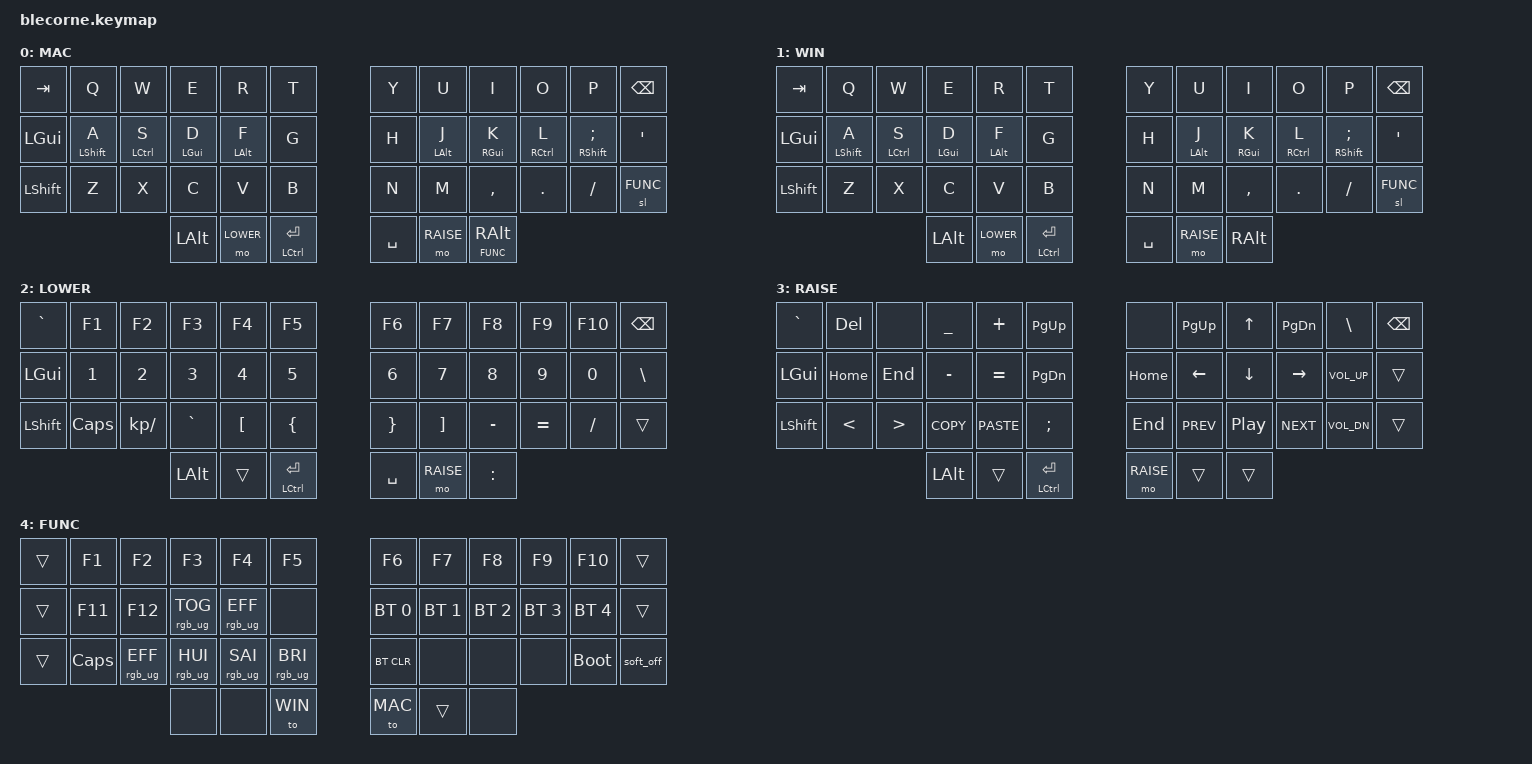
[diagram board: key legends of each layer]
/*
 * Copyright (c) 2020 The ZMK Contributors
 * SPDX-License-Identifier: MIT
 */

#include <behaviors.dtsi>
#include <dt-bindings/zmk/keys.h>
#include <dt-bindings/zmk/bt.h>
#include <dt-bindings/zmk/rgb.h>
#include <dt-bindings/zmk/ext_power.h>
#include <dt-bindings/zmk/outputs.h>

&sl {
    release-after-ms = <2000>;
};

#define MAC 0
#define WIN 1
#define LOWER 2
#define RAISE 3
#define FUNC 4

/ {
    chosen {
        zmk,physical-layout = &foostan_corne_6col_layout;
        // zmk,physical-layout = &foostan_corne_5col_layout;
    };

    behaviors {
        hm: homerow_mods {
            compatible = "zmk,behavior-hold-tap";
            label = "HOMEROW_MODS";
            #binding-cells = <2>;
            tapping-term-ms = <162>;
            quick-tap-ms = <0>;
            flavor = "balanced";
            bindings = <&kp>, <&kp>;
        };

        lt_c: layer_tap_custom {
            compatible = "zmk,behavior-hold-tap";
            label = "LAYER_TAP_CUSTOM";
            #binding-cells = <2>;
            tapping-term-ms = <162>;
            flavor = "balanced";
            bindings = <&mo>, <&kp>;
        };
    };

    combos {
        compatible = "zmk,combos";

        // Q + W = ESC
        combo_esc {
            timeout-ms = <50>;
            key-positions = <1 2>; 
            bindings = <&kp ESC>;
        };

        // . + , = ;
        combo_semi {
            timeout-ms = <50>;
            key-positions = <32 33>;
            bindings = <&kp SEMI>;
        };
    };

    keymap {
        compatible = "zmk,keymap";

        mac_layer {
            display-name = "MAC";
            bindings = <
  //,-----------------------------------------------------.                    ,-----------------------------------------------------.
       &kp TAB   &kp Q       &kp W       &kp E       &kp R       &kp T         &kp Y     &kp U       &kp I       &kp O       &kp P        &kp BSPC
  //|--------+--------+--------+--------+--------+--------|                    |--------+--------+--------+--------+--------+--------|
       &kp LGUI  &hm LSHFT A &hm LCTRL S &hm LGUI D  &hm LALT F  &kp G         &kp H     &hm LALT J  &hm RGUI K  &hm RCTRL L &hm RSHFT SEMI &kp SQT
  //|--------+--------+--------+--------+--------+--------|                    |--------+--------+--------+--------+--------+--------|
       &kp LSHFT &kp Z       &kp X       &kp C       &kp V       &kp B         &kp N     &kp M       &kp COMMA   &kp DOT     &kp FSLH     &sl FUNC
  //|--------+--------+--------+--------+--------+--------+--------|  |--------+--------+--------+--------+--------+--------+--------|
                                           &kp LALT    &mo LOWER   &hm LCTRL RET &kp SPACE &mo RAISE   &lt_c FUNC RALT
                                         //`--------------------------'  `--------------------------'
            >;
        };

        win_layer {
            display-name = "WIN";
            bindings = <
  //,-----------------------------------------------------.                    ,-----------------------------------------------------.
       &kp TAB   &kp Q       &kp W       &kp E       &kp R       &kp T         &kp Y     &kp U       &kp I       &kp O       &kp P        &kp BSPC
  //|--------+--------+--------+--------+--------+--------|                    |--------+--------+--------+--------+--------+--------|
       &kp LGUI  &hm LSHFT A &hm LCTRL S &hm LGUI D  &hm LALT F  &kp G         &kp H     &hm LALT J  &hm RGUI K  &hm RCTRL L &hm RSHFT SEMI &kp SQT
  //|--------+--------+--------+--------+--------+--------|                    |--------+--------+--------+--------+--------+--------|
       &kp LSHFT &kp Z       &kp X       &kp C       &kp V       &kp B         &kp N     &kp M       &kp COMMA   &kp DOT     &kp FSLH     &sl FUNC
  //|--------+--------+--------+--------+--------+--------+--------|  |--------+--------+--------+--------+--------+--------+--------|
                                           &kp LALT    &mo LOWER   &hm LCTRL RET &kp SPACE &mo RAISE   &kp RALT
                                         //`--------------------------'  `--------------------------'
            >;
        };

        lower_layer {
            display-name = "LOWER";
            bindings = <
  //,-----------------------------------------------------.                    ,-----------------------------------------------------.
       &kp GRAVE  &kp F1      &kp F2      &kp F3      &kp F4      &kp F5        &kp F6    &kp F7    &kp F8      &kp F9     &kp F10      &kp BSPC
  //|--------+--------+--------+--------+--------+--------|                    |--------+--------+--------+--------+--------+--------|
       &kp LGUI   &kp N1      &kp N2      &kp N3      &kp N4      &kp N5        &kp N6    &kp N7    &kp N8      &kp N9     &kp N0       &kp BSLH
  //|--------+--------+--------+--------+--------+--------|                    |--------+--------+--------+--------+--------+--------|
       &kp LSHFT  &kp CAPS    &kp KP_SLASH &kp GRAVE  &kp LBKT    &kp LBRC      &kp RBRC  &kp RBKT  &kp MINUS   &kp EQUAL  &kp FSLH     &trans
  //|--------+--------+--------+--------+--------+--------+--------|  |--------+--------+--------+--------+--------+--------+--------|
                                           &kp LALT    &trans      &hm LCTRL RET &kp SPACE &mo RAISE   &kp COLON
                                         //`--------------------------'  `--------------------------'
            >;
        };

        raise_layer {
            display-name = "RAISE";
            bindings = <
  //,-----------------------------------------------------.                    ,-----------------------------------------------------.
       &kp GRAVE  &kp DEL      &none       &kp UNDER    &kp PLUS    &kp PG_UP     &none      &kp PG_UP &kp UP      &kp PG_DN  &kp BSLH     &kp BSPC
  //|--------+--------+--------+--------+--------+--------|                    |--------+--------+--------+--------+--------+--------|
       &kp LGUI   &kp HOME     &kp END     &kp MINUS    &kp EQUAL   &kp PG_DN     &kp HOME   &kp LEFT  &kp DOWN    &kp RIGHT  &kp C_VOL_UP &trans
  //|--------+--------+--------+--------+--------+--------|                    |--------+--------+--------+--------+--------+--------|
       &kp LSHFT  &kp LT       &kp GT      &kp K_COPY   &kp K_PASTE &kp SEMI      &kp END    &kp C_PREV &kp C_PP   &kp C_NEXT &kp C_VOL_DN &trans
  //|--------+--------+--------+--------+--------+--------+--------|  |--------+--------+--------+--------+--------+--------+--------|
                                           &kp LALT    &trans      &hm LCTRL RET &mo RAISE  &trans    &trans
                                         //`--------------------------'  `--------------------------'
            >;
        };

        func_layer {
            display-name = "FUNC";
            bindings = <
  //,-----------------------------------------------------.                    ,-----------------------------------------------------.
       &trans     &kp F1       &kp F2      &kp F3         &kp F4           &kp F5         &kp F6     &kp F7        &kp F8     &kp F9     &kp F10      &trans
  //|--------+--------+--------+--------+--------+--------|                    |--------+--------+--------+--------+--------+--------|
       &trans     &kp F11      &kp F12     &rgb_ug RGB_TOG &rgb_ug RGB_EFF &none          &bt BT_SEL 0 &bt BT_SEL 1 &bt BT_SEL 2 &bt BT_SEL 3 &bt BT_SEL 4 &trans
  //|--------+--------+--------+--------+--------+--------|                    |--------+--------+--------+--------+--------+--------|
       &trans     &kp CAPS     &rgb_ug RGB_EFF &rgb_ug RGB_HUI &rgb_ug RGB_SAI &rgb_ug RGB_BRI &bt BT_CLR &none     &none      &none      &bootloader &soft_off
  //|--------+--------+--------+--------+--------+--------+--------|  |--------+--------+--------+--------+--------+--------+--------|
                                           &none       &none          &to WIN        &to MAC    &trans     &none
                                         //`--------------------------'  `--------------------------'
            >;
        };
    };
};
